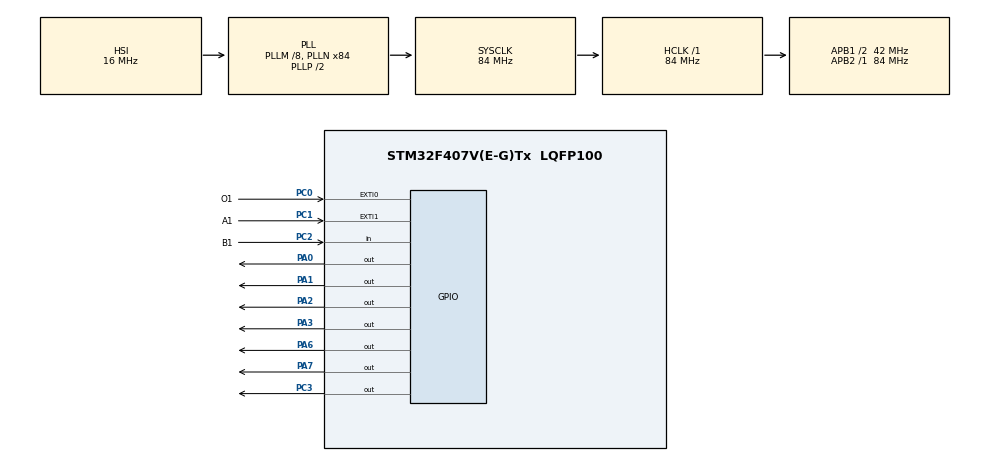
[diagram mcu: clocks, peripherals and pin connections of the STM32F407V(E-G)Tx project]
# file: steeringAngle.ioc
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Mcu.Family=STM32F4
Mcu.Name=STM32F407V(E-G)Tx
Mcu.Package=LQFP100
NVIC.EXTI0_IRQn=true\:0\:0\:false\:false\:true\:true\:true\:true
NVIC.EXTI1_IRQn=true\:0\:0\:false\:false\:true\:true\:true\:true
NVIC.PriorityGroup=NVIC_PRIORITYGROUP_4
PA0-WKUP.Signal=GPIO_Output
PA1.Signal=GPIO_Output
PA2.Signal=GPIO_Output
PA3.Signal=GPIO_Output
PA6.Signal=GPIO_Output
PA7.Signal=GPIO_Output
PC0.GPIO_Label=O1
PC0.GPIO_PuPd=GPIO_PULLUP
PC0.Signal=GPXTI0
PC1.GPIO_Label=A1
PC1.GPIO_PuPd=GPIO_PULLUP
PC1.Signal=GPXTI1
PC2.GPIO_Label=B1
PC2.Signal=GPIO_Input
PC3.Signal=GPIO_Output
ProjectManager.HeapSize=0x200
ProjectManager.StackSize=0x400
ProjectManager.TargetToolchain=STM32CubeIDE
RCC.48MHZClocksFreq_Value=42000000
RCC.AHBFreq_Value=84000000
RCC.APB1CLKDivider=RCC_HCLK_DIV2
RCC.APB1Freq_Value=42000000
RCC.APB1TimFreq_Value=84000000
RCC.APB2Freq_Value=84000000
RCC.APB2TimFreq_Value=84000000
RCC.CortexFreq_Value=84000000
RCC.HCLKFreq_Value=84000000
RCC.HSE_VALUE=25000000
RCC.HSI_VALUE=16000000
RCC.LSE_VALUE=32768
RCC.PLLM=8
RCC.PLLN=84
RCC.SYSCLKFreq_VALUE=84000000
RCC.SYSCLKSource=RCC_SYSCLKSOURCE_PLLCLK
RCC.VCOOutputFreq_Value=168000000
board=custom

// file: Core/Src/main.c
/* USER CODE BEGIN Header */
/**
  ******************************************************************************
  * @file           : main.c
  * @brief          : Main program body
  ******************************************************************************
  * @attention
  *
  * Copyright (c) 2025 STMicroelectronics.
  * All rights reserved.
  *
  * This software is licensed under terms that can be found in the LICENSE file
  * in the root directory of this software component.
  * If no LICENSE file comes with this software, it is provided AS-IS.
  *
  ******************************************************************************
  */
/* USER CODE END Header */
#include "main.h"

/* USER CODE BEGIN PD */
#define PULSES_PER_REV 1024.0f // Pulse per rev
#define DEGREES_PER_REV 360.0f
/* USER CODE END PD */

/* USER CODE BEGIN PV */
volatile int32_t pulse_count = 0;
/* USER CODE END PV */

void SystemClock_Config(void);
static void MX_GPIO_Init(void);
/* USER CODE BEGIN PFP */
void HAL_GPIO_EXTI_Callback(uint16_t GPIO_Pin)
{
    if (GPIO_Pin == O1_Pin)  // Encoder A signal
    	// somehow maybe naming on the baord was inverted. O1 is acting like A and A1 like O. PC0 is not left pin it's right pin.
    {
//    	HAL_GPIO_TogglePin(GPIOA, GPIO_PIN_0);
//    	if(B1_Pin){
//    		pulse_count--;
//    	}
//    	else pulse_count++;

    	pulse_count++;
//
    }

    else if (GPIO_Pin == A1_Pin)  // Encoder O (index)
    {
//    	HAL_GPIO_TogglePin(GPIOA, GPIO_PIN_1);
        pulse_count = 0;
    }
}

float get_angle_deg()
{
    return ((float)pulse_count / PULSES_PER_REV) * DEGREES_PER_REV;
}
/* USER CODE END PFP */

int main(void)
{

  /* USER CODE BEGIN 1 */
// ----------------------------------------------------------- Config --------------------------------------------
//	EXTL0 is O
//	EXTL1 is A
  /* USER CODE END 1 */

  /* MCU Configuration--------------------------------------------------------*/

  /* Reset of all peripherals, Initializes the Flash interface and the Systick. */
  HAL_Init();

  /* Configure the system clock */
  SystemClock_Config();

  /* Initialize all configured peripherals */
  MX_GPIO_Init();
  /* USER CODE BEGIN 2 */
  HAL_GPIO_WritePin(GPIOA, GPIO_PIN_7, GPIO_PIN_RESET);
  /* USER CODE END 2 */

  /* Infinite loop */
  /* USER CODE BEGIN WHILE */
  while (1)
  {
//	  HAL_GPIO_TogglePin(GPIOA, GPIO_PIN_7);
//	  HAL_Delay(1000);
	  float angle = get_angle_deg();
	  if (angle >= 360.0f) {
	      pulse_count = 0;
	      angle = 0;
	      HAL_GPIO_WritePin(GPIOA, GPIO_PIN_7, GPIO_PIN_RESET);
	      HAL_GPIO_WritePin(GPIOA, GPIO_PIN_6, GPIO_PIN_SET);
	  }

	  uint8_t bin_angle = (uint8_t)((angle / 360.0f) * 15.0f); // 0 to 24deg glows 1st LED
//	  uint8_t bin_angle = ((uint32_t)pulse_count % PULSES_PER_REV) / (PULSES_PER_REV / 16);
	  HAL_GPIO_WritePin(GPIOA, GPIO_PIN_0, (bin_angle >> 0) & 1);
	  HAL_GPIO_WritePin(GPIOA, GPIO_PIN_1, (bin_angle >> 1) & 1);
	  HAL_GPIO_WritePin(GPIOA, GPIO_PIN_2, (bin_angle >> 2) & 1);
	  HAL_GPIO_WritePin(GPIOA, GPIO_PIN_3, (bin_angle >> 3) & 1);
//	  HAL_GPIO_TogglePin(GPIOC, GPIO_PIN_3);
//	  HAL_Delay(1000);

    /* USER CODE END WHILE */

  }
}

void SystemClock_Config(void)
{
  RCC_OscInitTypeDef RCC_OscInitStruct = {0};
  RCC_ClkInitTypeDef RCC_ClkInitStruct = {0};

  /** Configure the main internal regulator output voltage
  */
  __HAL_RCC_PWR_CLK_ENABLE();
  __HAL_PWR_VOLTAGESCALING_CONFIG(PWR_REGULATOR_VOLTAGE_SCALE1);

  /** Initializes the RCC Oscillators according to the specified parameters
  * in the RCC_OscInitTypeDef structure.
  */
  RCC_OscInitStruct.OscillatorType = RCC_OSCILLATORTYPE_HSI;
  RCC_OscInitStruct.HSIState = RCC_HSI_ON;
  RCC_OscInitStruct.HSICalibrationValue = RCC_HSICALIBRATION_DEFAULT;
  RCC_OscInitStruct.PLL.PLLState = RCC_PLL_ON;
  RCC_OscInitStruct.PLL.PLLSource = RCC_PLLSOURCE_HSI;
  RCC_OscInitStruct.PLL.PLLM = 8;
  RCC_OscInitStruct.PLL.PLLN = 84;
  RCC_OscInitStruct.PLL.PLLP = RCC_PLLP_DIV2;
  RCC_OscInitStruct.PLL.PLLQ = 4;
  if (HAL_RCC_OscConfig(&RCC_OscInitStruct) != HAL_OK)
  {
    Error_Handler();
  }

  /** Initializes the CPU, AHB and APB buses clocks
  */
  RCC_ClkInitStruct.ClockType = RCC_CLOCKTYPE_HCLK|RCC_CLOCKTYPE_SYSCLK
                              |RCC_CLOCKTYPE_PCLK1|RCC_CLOCKTYPE_PCLK2;
  RCC_ClkInitStruct.SYSCLKSource = RCC_SYSCLKSOURCE_PLLCLK;
  RCC_ClkInitStruct.AHBCLKDivider = RCC_SYSCLK_DIV1;
  RCC_ClkInitStruct.APB1CLKDivider = RCC_HCLK_DIV2;
  RCC_ClkInitStruct.APB2CLKDivider = RCC_HCLK_DIV1;

  if (HAL_RCC_ClockConfig(&RCC_ClkInitStruct, FLASH_LATENCY_2) != HAL_OK)
  {
    Error_Handler();
  }
}

static void MX_GPIO_Init(void)
{
  GPIO_InitTypeDef GPIO_InitStruct = {0};

  /* GPIO Ports Clock Enable */
  __HAL_RCC_GPIOC_CLK_ENABLE();
  __HAL_RCC_GPIOA_CLK_ENABLE();

  /*Configure GPIO pin Output Level */
  HAL_GPIO_WritePin(GPIOC, GPIO_PIN_3, GPIO_PIN_RESET);

  /*Configure GPIO pin Output Level */
  HAL_GPIO_WritePin(GPIOA, GPIO_PIN_0|GPIO_PIN_1|GPIO_PIN_2|GPIO_PIN_3
                          |GPIO_PIN_6|GPIO_PIN_7, GPIO_PIN_RESET);

  /*Configure GPIO pins : O1_Pin A1_Pin */
  GPIO_InitStruct.Pin = O1_Pin|A1_Pin;
  GPIO_InitStruct.Mode = GPIO_MODE_IT_RISING;
  GPIO_InitStruct.Pull = GPIO_PULLUP;
  HAL_GPIO_Init(GPIOC, &GPIO_InitStruct);

  /*Configure GPIO pin : B1_Pin */
  GPIO_InitStruct.Pin = B1_Pin;
  GPIO_InitStruct.Mode = GPIO_MODE_INPUT;
  GPIO_InitStruct.Pull = GPIO_NOPULL;
  HAL_GPIO_Init(B1_GPIO_Port, &GPIO_InitStruct);

  /*Configure GPIO pin : PC3 */
  GPIO_InitStruct.Pin = GPIO_PIN_3;
  GPIO_InitStruct.Mode = GPIO_MODE_OUTPUT_PP;
  GPIO_InitStruct.Pull = GPIO_NOPULL;
  GPIO_InitStruct.Speed = GPIO_SPEED_FREQ_LOW;
  HAL_GPIO_Init(GPIOC, &GPIO_InitStruct);

  /*Configure GPIO pins : PA0 PA1 PA2 PA3
                           PA6 PA7 */
  GPIO_InitStruct.Pin = GPIO_PIN_0|GPIO_PIN_1|GPIO_PIN_2|GPIO_PIN_3
                          |GPIO_PIN_6|GPIO_PIN_7;
  GPIO_InitStruct.Mode = GPIO_MODE_OUTPUT_PP;
  GPIO_InitStruct.Pull = GPIO_NOPULL;
  GPIO_InitStruct.Speed = GPIO_SPEED_FREQ_LOW;
  HAL_GPIO_Init(GPIOA, &GPIO_InitStruct);

  /* EXTI interrupt init*/
  HAL_NVIC_SetPriority(EXTI0_IRQn, 0, 0);
  HAL_NVIC_EnableIRQ(EXTI0_IRQn);

  HAL_NVIC_SetPriority(EXTI1_IRQn, 0, 0);
  HAL_NVIC_EnableIRQ(EXTI1_IRQn);

}

void Error_Handler(void)
{
  __disable_irq();
  while (1)
  {
  }
}
